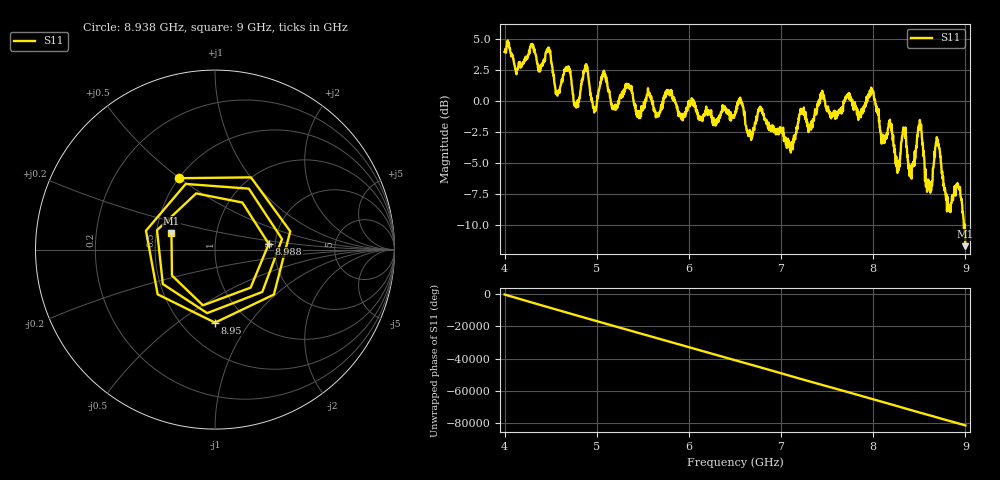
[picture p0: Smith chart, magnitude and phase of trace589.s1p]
! Created with skrf 1.8.0 (http://scikit-rf.org).
# Hz S RI R 50.0
!freq ReS11 ImS11
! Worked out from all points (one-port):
!   1601 points, 4 GHz to 9 GHz, reference 50 ohm
!   lowest |S11| = -11.7 dB at 9 GHz (marker M1), VSWR 1.70, Z = 30.1 + j5.82 ohm
!   |S11| at or under -10 dB: 8.982524 GHz to 8.993847 GHz (11.32 MHz wide, 0.126 % of centre); 8.994109 GHz to end of sweep
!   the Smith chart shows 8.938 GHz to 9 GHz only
!   S11 on the Smith chart (normalised r, x): 8.938 GHz: 0.50, +0.50; 8.95 GHz: 0.72, -0.70; 8.988 GHz: 1.85, +0.13; 9 GHz: 0.60, +0.12
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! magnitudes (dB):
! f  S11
! 4 GHz  4.0
! 4.472 GHz  4.3
! 4.562 GHz  0.6
! 4.625 GHz  1.5
! 4.772 GHz  -0.2
! 4.881 GHz  3.0
! 4.972 GHz  -0.9
! 5.25 GHz  0.3
! 5.875 GHz  -0.5
! 6.5 GHz  -1.1
! 7.125 GHz  -3.3
! 7.222 GHz  -0.8
! 7.75 GHz  0.3
! 7.988 GHz  0.7
! 8.1 GHz  -2.7
! 8.191 GHz  -2.1
! 8.266 GHz  -5.8
! 8.331 GHz  -2.2
! 8.375 GHz  -4.8
! 8.422 GHz  -5.1
! 8.503 GHz  -1.9
! 8.597 GHz  -6.4
! 8.697 GHz  -3.2
! 8.812 GHz  -8.7
! 8.938 GHz  -7.0
! 8.95 GHz  -7.8
! 8.988 GHz  -10.4
! 9 GHz  -11.7
